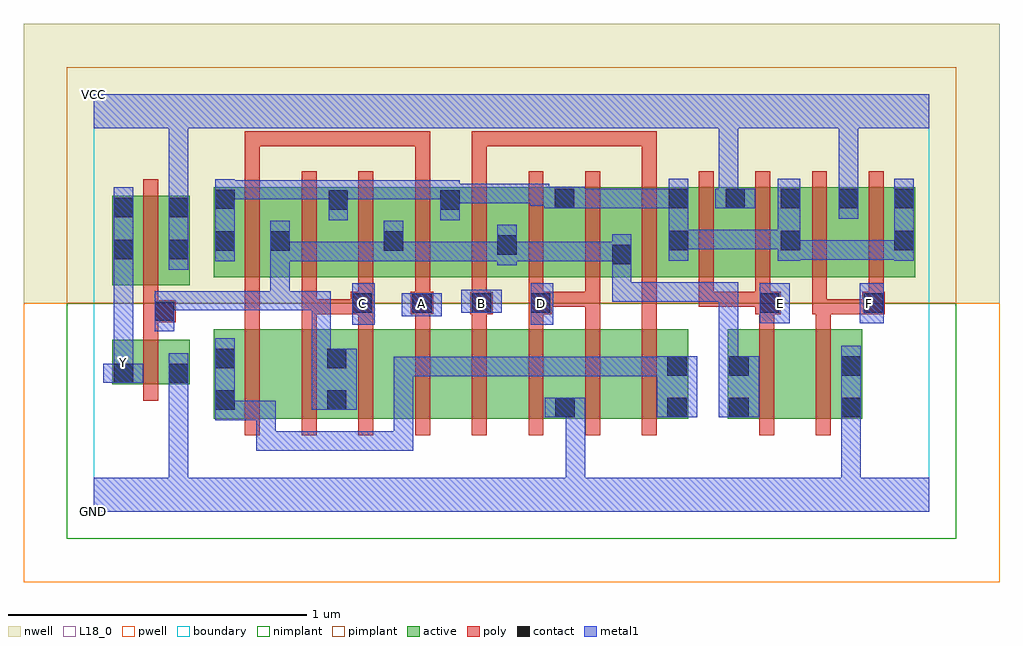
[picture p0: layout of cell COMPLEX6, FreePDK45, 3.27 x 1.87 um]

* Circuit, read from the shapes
.subckt COMPLEX6 A B C D E F GND VCC Y
M1 GND n1 Y VSUBS nfet w=0.15u l=0.05u
M2 n2 A n3 VSUBS nfet w=0.3u l=0.05u
M3 n1 C n2 VSUBS nfet w=0.3u l=0.05u
M4 n4 C n1 VSUBS nfet w=0.3u l=0.05u
M5 n5 A n4 VSUBS nfet w=0.3u l=0.05u
M6 n6 B n5 VSUBS nfet w=0.3u l=0.05u
M7 GND D n6 VSUBS nfet w=0.3u l=0.05u
M8 n7 D GND VSUBS nfet w=0.3u l=0.05u
M9 n3 B n7 VSUBS nfet w=0.3u l=0.05u
M10 n8 E n1 VSUBS nfet w=0.3u l=0.05u
M11 GND F n8 VSUBS nfet w=0.3u l=0.05u
M12 VCC n1 Y n9 pfet w=0.3u l=0.05u
M13 n1 A n10 n9 pfet w=0.3u l=0.05u m=2
M14 n10 C n1 n9 pfet w=0.3u l=0.05u m=2
M15 n1 B n10 n9 pfet w=0.3u l=0.05u m=2
M16 n10 D n1 n9 pfet w=0.3u l=0.05u m=2
M17 VCC E n10 n9 pfet w=0.3u l=0.05u m=2
M18 VCC F n10 n9 pfet w=0.3u l=0.05u m=2
.ends

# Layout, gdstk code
import gdstk
lib = gdstk.Library(unit=1e-6, precision=1e-09)
def R(c, l, rs):  # rectangles x0, y0, x1, y1
    for r in rs: c.add(gdstk.rectangle(r[:2], r[2:], *l))
def A(c, l, x, y, w, h, nx, ny, dx, dy):  # array of equal rectangles
    R(c, l, [(x+i*dx, y+j*dy, x+i*dx+w, y+j*dy+h) for i in range(nx) for j in range(ny)])
active = (1, 0)
pwell = (2, 0)
nwell = (3, 0)
nimplant = (4, 0)
pimplant = (5, 0)
poly = (9, 0)
contact = (10, 0)
metal1 = (11, 0)
L18_0 = (18, 0)
boundary = (235, 0)

complex6 = lib.new_cell('COMPLEX6')
R(complex6, active, [(0.402,0.312,0.627,0.612), (0.627,0.312,0.852,0.612), (0.777,0.312,1.007,0.612), (1.007,0.312,1.197,0.612), (1.197,0.312,1.387,0.612), (1.387,0.312,1.617,0.612), (1.542,0.312,1.767,0.612), (1.542,0.312,1.617,0.572), (1.767,0.312,1.992,0.612), (1.917,0.312,1.992,0.612), (2.125,0.312,2.2,0.612), (2.125,0.312,2.35,0.612), (2.35,0.312,2.575,0.612), (2.5,0.312,2.575,0.612), (0.402,0.337,0.477,0.612), (0.777,0.337,0.852,0.552), (0.062,0.427,0.137,0.577), (0.062,0.427,0.322,0.577), (0.247,0.427,0.322,0.577), (0.062,0.76,0.322,1.06), (0.062,0.76,0.137,1.057), (0.247,0.76,0.322,1.057), (0.402,0.787,0.662,1.087), (0.402,0.787,0.477,1.085), (0.587,0.787,0.857,1.087), (0.782,0.787,1.042,1.087), (0.967,0.787,1.232,1.087), (1.157,0.787,1.422,1.087), (1.347,0.787,1.615,1.087), (1.54,0.787,1.807,1.087), (1.732,0.787,1.997,1.087), (1.922,0.787,1.997,1.087), (1.922,0.787,2.187,1.087), (2.112,0.787,2.372,1.087), (2.297,0.787,2.372,1.087), (2.297,0.787,2.567,1.087), (2.492,0.787,2.752,1.087), (2.677,0.787,2.752,1.087), (1.732,0.825,1.807,1.055), (1.347,0.857,1.422,1.055), (0.587,0.87,0.662,1.055), (0.967,0.87,1.042,1.055), (0.782,0.882,0.857,1.087), (1.157,0.882,1.232,1.082), (1.54,0.882,1.615,1.087), (2.112,0.895,2.187,1.087), (2.492,1.007,2.567,1.087)])
R(complex6, pwell, [(-0.235,-0.235,3.035,0.7)])
R(complex6, nwell, [(-0.235,0.7,3.035,1.635)])
R(complex6, nimplant, [(-0.09,-0.09,2.89,0.7)])
R(complex6, pimplant, [(-0.09,0.7,2.89,1.49)])
A(complex6, poly, 0.507, 0.257, 0.05, 0.41, 8, 1, 0.19, 0)
A(complex6, poly, 0.507, 0.617, 0.05, 0.095, 6, 1, 0.19, 0)
A(complex6, poly, 0.862, 0.662, 0.075, 0.075, 3, 1, 0.2, 0)
A(complex6, poly, 0.887, 0.687, 0.05, 0.095, 5, 1, 0.19, 0)
A(complex6, poly, 0.507, 0.732, 0.05, 0.41, 12, 1, 0.19, 0)
R(complex6, poly, [(2.23,0.257,2.28,0.667), (2.42,0.257,2.47,0.667), (0.167,0.372,0.217,0.632), (0.167,0.582,0.217,0.685), (1.647,0.617,1.697,0.737), (1.837,0.617,1.887,0.712), (2.23,0.617,2.28,0.712), (2.42,0.617,2.47,0.712), (0.167,0.635,0.275,0.71), (0.167,0.66,0.217,0.755), (0.507,0.662,0.557,0.712), (0.507,0.662,0.557,0.782), (0.697,0.662,0.747,0.712), (0.697,0.662,0.747,0.782), (0.697,0.662,0.912,0.712), (0.862,0.662,0.912,0.712), (0.862,0.662,0.912,0.712), (1.457,0.662,1.535,0.737), (1.837,0.662,1.887,0.712), (1.837,0.662,1.887,0.782), (2.217,0.662,2.302,0.737), (2.407,0.662,2.457,0.782), (2.407,0.662,2.47,0.712), (2.42,0.662,2.625,0.712), (2.575,0.662,2.625,0.712), (2.575,0.662,2.625,0.712), (2.575,0.662,2.65,0.737), (1.485,0.687,1.697,0.737), (1.647,0.687,1.697,0.737), (1.647,0.687,1.697,0.737), (1.647,0.687,1.697,0.737), (2.027,0.687,2.077,0.782), (2.027,0.687,2.077,0.737), (2.027,0.687,2.077,0.737), (2.027,0.687,2.077,0.737), (2.027,0.687,2.267,0.737), (2.217,0.687,2.267,0.782), (2.597,0.687,2.647,0.782), (0.167,0.705,0.217,1.115), (0.507,1.092,0.557,1.275), (1.077,1.092,1.127,1.275), (1.267,1.092,1.317,1.275), (1.837,1.092,1.887,1.275), (0.507,1.225,0.557,1.275), (0.507,1.225,0.69,1.275), (0.64,1.225,0.69,1.275), (0.64,1.225,0.69,1.275), (0.64,1.225,0.69,1.275), (0.64,1.225,0.98,1.275), (0.93,1.225,0.98,1.275), (0.93,1.225,0.98,1.275), (0.93,1.225,0.98,1.275), (0.93,1.225,1.127,1.275), (1.077,1.225,1.127,1.275), (1.077,1.225,1.127,1.275), (1.077,1.225,1.127,1.275), (1.267,1.225,1.317,1.275), (1.267,1.225,1.317,1.275), (1.267,1.225,1.317,1.275), (1.267,1.225,1.565,1.275), (1.515,1.225,1.565,1.275), (1.515,1.225,1.565,1.275), (1.515,1.225,1.565,1.275), (1.515,1.225,1.717,1.275), (1.667,1.225,1.717,1.275), (1.667,1.225,1.887,1.275), (1.837,1.225,1.887,1.275), (1.837,1.225,1.887,1.275), (1.837,1.225,1.887,1.275)])
A(complex6, contact, 0.867, 0.667, 0.065, 0.065, 3, 1, 0.2, 0)
R(complex6, contact, [(1.547,0.317,1.612,0.382), (1.922,0.317,1.987,0.382), (2.13,0.317,2.195,0.382), (2.505,0.317,2.57,0.382), (0.407,0.342,0.472,0.407), (0.782,0.342,0.847,0.407), (0.067,0.432,0.132,0.497), (0.252,0.432,0.317,0.497), (1.922,0.457,1.987,0.522), (2.13,0.457,2.195,0.522), (2.505,0.457,2.57,0.522), (0.407,0.482,0.472,0.547), (0.782,0.482,0.847,0.547), (0.205,0.64,0.27,0.705), (1.465,0.667,1.53,0.732), (2.232,0.667,2.297,0.732), (2.58,0.667,2.645,0.732), (1.737,0.83,1.802,0.895), (0.067,0.847,0.132,0.912), (0.252,0.847,0.317,0.912), (1.352,0.862,1.417,0.927), (0.407,0.875,0.472,0.94), (0.592,0.875,0.657,0.94), (0.972,0.875,1.037,0.94), (1.927,0.877,1.992,0.942), (2.302,0.877,2.367,0.942), (2.682,0.877,2.747,0.942), (0.067,0.987,0.132,1.052), (0.252,0.987,0.317,1.052), (0.787,1.012,0.852,1.077), (1.162,1.012,1.227,1.077), (0.407,1.015,0.472,1.08), (1.545,1.017,1.61,1.082), (1.927,1.017,1.992,1.082), (2.117,1.017,2.182,1.082), (2.302,1.017,2.367,1.082), (2.497,1.017,2.562,1.082), (2.682,1.017,2.747,1.082)])
R(complex6, metal1, [(0,0,2.8,0.115), (0.252,0.05,0.317,0.115), (0.252,0.05,0.317,0.115), (0.252,0.05,0.317,0.115), (0.252,0.05,0.317,0.115), (0.252,0.05,0.317,0.115), (0.252,0.05,0.317,0.115), (0.252,0.05,0.317,0.462), (1.582,0.05,1.647,0.382), (2.505,0.05,2.57,0.115), (2.505,0.05,2.57,0.115), (2.505,0.05,2.57,0.115), (2.505,0.05,2.57,0.115), (2.505,0.05,2.57,0.347), (0.545,0.205,0.61,0.27), (0.545,0.205,0.61,0.27), (0.545,0.205,0.61,0.27), (0.545,0.205,0.9,0.27), (0.545,0.205,0.61,0.372), (0.835,0.205,0.9,0.27), (0.835,0.205,0.932,0.27), (0.867,0.205,0.932,0.27), (0.867,0.205,1.07,0.27), (1.005,0.205,1.07,0.27), (1.005,0.205,1.07,0.52), (2.505,0.282,2.57,0.557), (0.407,0.307,0.472,0.372), (0.407,0.307,0.472,0.372), (0.407,0.307,0.472,0.582), (0.407,0.307,0.61,0.372), (0.545,0.307,0.61,0.372), (1.512,0.317,1.647,0.382), (1.582,0.317,1.647,0.382), (1.582,0.317,1.647,0.382), (1.582,0.317,1.647,0.382), (1.582,0.317,1.647,0.382), (1.887,0.317,2.022,0.522), (2.095,0.317,2.23,0.522), (0.73,0.342,0.882,0.547), (0.252,0.397,0.317,0.532), (0.032,0.432,0.167,0.497), (0.067,0.432,0.132,0.497), (0.067,0.432,0.132,0.567), (1.005,0.455,1.07,0.52), (1.005,0.455,1.07,0.52), (1.005,0.455,1.07,0.52), (1.005,0.455,1.207,0.52), (1.142,0.455,1.207,0.52), (1.142,0.455,1.207,0.52), (1.142,0.455,1.207,0.52), (1.142,0.455,1.437,0.52), (1.372,0.455,1.437,0.52), (1.372,0.455,1.437,0.52), (1.372,0.455,1.437,0.52), (1.372,0.455,1.665,0.52), (1.6,0.455,1.665,0.52), (1.6,0.455,1.665,0.52), (1.6,0.455,1.665,0.52), (1.6,0.455,1.802,0.52), (1.737,0.455,1.802,0.52), (1.737,0.455,1.802,0.52), (1.737,0.455,1.802,0.52), (1.737,0.455,1.952,0.52), (2.095,0.457,2.16,0.77), (0.73,0.482,0.795,0.74), (0.067,0.502,0.132,0.877), (0.205,0.605,0.27,0.74), (0.867,0.627,0.942,0.767), (1.465,0.627,1.54,0.767), (2.232,0.632,2.332,0.767), (2.567,0.632,2.647,0.767), (1.032,0.655,1.167,0.732), (1.232,0.667,1.367,0.745), (0.205,0.675,0.27,0.74), (0.205,0.675,0.27,0.74), (0.205,0.675,0.42,0.74), (0.355,0.675,0.42,0.74), (0.355,0.675,0.42,0.74), (0.355,0.675,0.42,0.74), (0.355,0.675,0.657,0.74), (0.592,0.675,0.657,0.74), (0.592,0.675,0.795,0.74), (0.592,0.675,0.657,0.905), (0.73,0.675,0.795,0.74), (0.73,0.675,0.795,0.74), (0.73,0.675,0.795,0.74), (1.737,0.705,1.94,0.77), (1.737,0.705,1.802,0.86), (1.875,0.705,1.94,0.77), (1.875,0.705,1.94,0.77), (1.875,0.705,1.94,0.77), (1.875,0.705,2.16,0.77), (2.095,0.705,2.16,0.77), (2.095,0.705,2.16,0.77), (2.095,0.705,2.16,0.77), (1.737,0.795,1.802,0.86), (1.737,0.795,1.802,0.93), (0.067,0.812,0.132,1.087), (0.252,0.812,0.317,1.087), (1.352,0.827,1.417,0.962), (0.407,0.84,0.472,1.115), (0.592,0.84,0.657,0.975), (0.592,0.84,0.795,0.905), (0.73,0.84,0.795,0.905), (0.73,0.84,0.795,0.905), (0.73,0.84,0.795,0.905), (0.73,0.84,0.932,0.905), (0.867,0.84,0.932,0.905), (0.867,0.84,1.037,0.905), (0.972,0.84,1.037,0.975), (0.972,0.84,1.07,0.905), (1.005,0.84,1.07,0.905), (1.005,0.84,1.207,0.905), (1.142,0.84,1.207,0.905), (1.142,0.84,1.207,0.905), (1.142,0.84,1.207,0.905), (1.142,0.84,1.417,0.905), (1.352,0.84,1.417,0.905), (1.352,0.84,1.417,0.905), (1.352,0.84,1.665,0.905), (1.6,0.84,1.665,0.905), (1.6,0.84,1.665,0.905), (1.6,0.84,1.665,0.905), (1.6,0.84,1.802,0.905), (1.927,0.842,1.992,1.117), (2.292,0.842,2.367,1.117), (2.682,0.842,2.747,1.117), (2.302,0.845,2.495,0.91), (2.43,0.845,2.495,0.91), (2.43,0.845,2.505,0.91), (2.44,0.845,2.505,0.91), (2.44,0.845,2.747,0.91), (2.682,0.845,2.747,0.91), (2.682,0.845,2.747,0.91), (1.927,0.88,2.13,0.945), (2.065,0.88,2.13,0.945), (2.065,0.88,2.13,0.945), (2.065,0.88,2.13,0.945), (2.065,0.88,2.13,0.945), (2.065,0.88,2.13,0.945), (2.065,0.88,2.357,0.945), (2.292,0.88,2.357,0.945), (2.292,0.88,2.357,0.945), (0.787,0.977,0.852,1.112), (1.162,0.977,1.227,1.112), (2.497,0.982,2.562,1.117), (1.51,1.017,1.645,1.09), (1.58,1.017,1.665,1.082), (1.6,1.017,1.665,1.082), (1.6,1.017,1.802,1.082), (1.737,1.017,1.802,1.082), (1.737,1.017,1.992,1.082), (1.927,1.017,1.992,1.082), (1.927,1.017,1.992,1.082), (2.082,1.017,2.217,1.082), (2.095,1.017,2.16,1.082), (2.095,1.017,2.16,1.082), (2.095,1.017,2.16,1.35), (0.252,1.022,0.317,1.35), (1.462,1.025,1.575,1.09), (1.462,1.025,1.527,1.1), (1.162,1.035,1.227,1.1), (1.162,1.035,1.227,1.1), (1.162,1.035,1.437,1.1), (1.372,1.035,1.437,1.1), (1.372,1.035,1.527,1.1), (0.407,1.047,0.472,1.112), (0.407,1.047,0.472,1.112), (0.407,1.047,0.61,1.112), (0.545,1.047,0.61,1.112), (0.545,1.047,0.61,1.112), (0.545,1.047,0.61,1.112), (0.545,1.047,0.852,1.112), (0.787,1.047,0.932,1.112), (0.867,1.047,0.932,1.112), (0.867,1.047,1.07,1.112), (1.005,1.047,1.07,1.112), (1.005,1.047,1.07,1.112), (1.005,1.047,1.07,1.112), (1.005,1.047,1.227,1.112), (2.497,1.052,2.562,1.117), (2.497,1.052,2.562,1.117), (2.497,1.052,2.562,1.35), (0,1.285,2.8,1.4), (0.252,1.285,0.317,1.35), (0.252,1.285,0.317,1.35)])
A(complex6, L18_0, 0.867, 0.667, 0.065, 0.065, 4, 1, 0.2, 0)
R(complex6, L18_0, [(0,0,2.8,0.115), (0.252,0.05,0.317,0.115), (0.252,0.05,0.317,0.115), (0.252,0.05,0.317,0.115), (0.252,0.05,0.317,0.115), (0.252,0.05,0.317,0.115), (0.252,0.05,0.317,0.115), (0.252,0.05,0.317,0.462), (1.582,0.05,1.647,0.382), (2.505,0.05,2.57,0.115), (2.505,0.05,2.57,0.115), (2.505,0.05,2.57,0.115), (2.505,0.05,2.57,0.115), (2.505,0.05,2.57,0.347), (2.505,0.282,2.57,0.557), (1.512,0.317,1.647,0.382), (1.582,0.317,1.647,0.382), (1.582,0.317,1.647,0.382), (1.582,0.317,1.647,0.382), (1.582,0.317,1.647,0.382), (0.252,0.397,0.317,0.532), (0.032,0.432,0.167,0.497), (0.067,0.432,0.132,0.567), (0.067,0.432,0.132,0.497), (0.067,0.467,0.132,0.532), (0.067,0.502,0.132,0.877), (0.867,0.627,0.942,0.767), (1.465,0.627,1.54,0.767), (2.232,0.632,2.332,0.767), (2.567,0.632,2.647,0.767), (1.032,0.655,1.167,0.732), (1.232,0.667,1.367,0.745), (2.267,0.667,2.332,0.732), (2.567,0.667,2.632,0.732), (0.067,0.812,0.132,1.087), (0.252,0.812,0.317,1.087), (2.497,0.982,2.562,1.117), (2.082,1.017,2.217,1.082), (2.095,1.017,2.16,1.082), (2.095,1.017,2.16,1.082), (2.095,1.017,2.16,1.35), (0.252,1.022,0.317,1.35), (2.497,1.052,2.562,1.117), (2.497,1.052,2.562,1.117), (2.497,1.052,2.562,1.35), (0,1.285,2.8,1.4), (0.252,1.285,0.317,1.35), (0.252,1.285,0.317,1.35)])
R(complex6, boundary, [(0,0,2.8,1.4)])
complex6.add(gdstk.Label('A', (1.1,0.7), layer=11, texttype=0))
complex6.add(gdstk.Label('B', (1.3,0.7), layer=11, texttype=0))
complex6.add(gdstk.Label('C', (0.9,0.7), layer=11, texttype=0))
complex6.add(gdstk.Label('D', (1.5,0.7), layer=11, texttype=0))
complex6.add(gdstk.Label('E', (2.3,0.7), layer=11, texttype=0))
complex6.add(gdstk.Label('F', (2.6,0.7), layer=11, texttype=0))
complex6.add(gdstk.Label('Y', (0.1,0.5), layer=11, texttype=0))
complex6.add(gdstk.Label('VCC', (0,1.4), layer=11, texttype=0))
complex6.add(gdstk.Label('GND', (0,0), layer=11, texttype=0))

lib.write_gds('COMPLEX6.gds')
